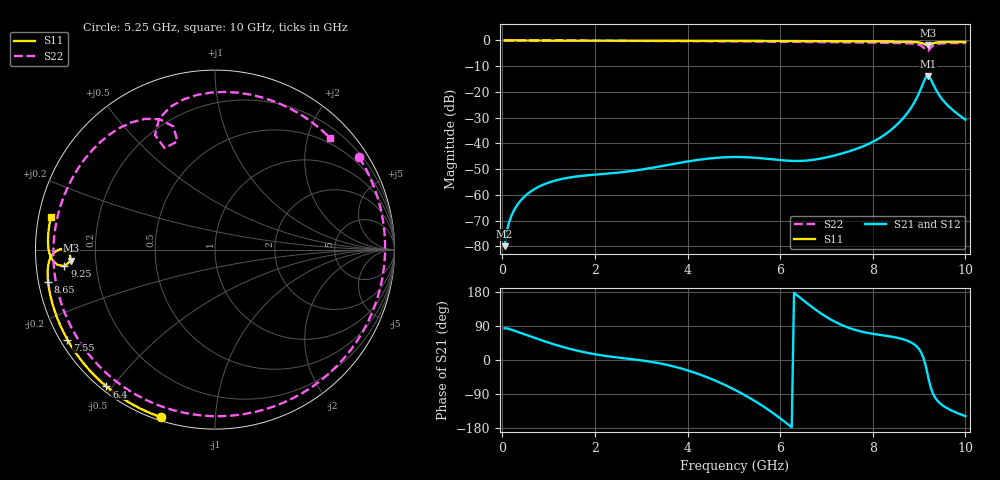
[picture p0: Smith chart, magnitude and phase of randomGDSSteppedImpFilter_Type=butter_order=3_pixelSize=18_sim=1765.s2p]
! freq	dB(S11)	phase(S11)	dB(S12)	phase(S12)
!  dB(S21)	phase(S21)	dB(S22)	phase(S22)
!S-par simulation data
#  GHz  S  DB  R 50
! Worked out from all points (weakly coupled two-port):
!   200 points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, 50 MHz to 10 GHz, reference 50 ohm
!   highest |S21| = -13.75 dB at 9.2 GHz (marker M1); lowest = -79.9 dB at 50 MHz (marker M2)
!   lowest |S11| = -1.9 dB at 9.2 GHz (marker M3), VSWR 9.20, Z = 5.44 - j1.88 ohm
!   |S11| at or under -10 dB: nowhere
!   |S22| runs from -4.0 to 0.0 dB; largest |S21 - S12| = 0
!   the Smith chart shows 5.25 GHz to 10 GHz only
!   S11 on the Smith chart (normalised r, x): 5.25 GHz: 0.01, -0.73; 6.4 GHz: 0.02, -0.48; 7.55 GHz: 0.02, -0.28; 8.65 GHz: 0.03, -0.10; 9.25 GHz: 0.08, -0.05; 10 GHz: 0.04, +0.10
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0.05  -0.00 -1.1  -79.89 83.7  -79.89 83.7  -0.02 -3.7
0.2  -0.01 -4.5  -67.96 79.8  -67.96 79.8  -0.04 -14.3
0.5  -0.02 -11.2  -60.28 66.7  -60.28 66.7  -0.05 -35.4
1.1  -0.03 -24.6  -54.63 41.9  -54.63 41.9  -0.09 -75.5
1.75  -0.05 -38.7  -52.52 21.0  -52.52 21.0  -0.13 -115.1
2.6  -0.07 -56.6  -51.14 5.0  -51.14 5.0  -0.17 -162.4
3.4  -0.10 -72.9  -48.92 -9.0  -48.92 -9.0  -0.21 153.9
4.3  -0.13 -90.3  -46.20 -39.8  -46.20 -39.8  -0.29 99.8
5.05  -0.16 -104.3  -45.27 -80.6  -45.27 -80.6  -0.38 47.6
5.25  -0.17 -107.9  -45.34 -93.8  -45.34 -93.8  -0.41 32.6
5.8  -0.20 -117.8  -46.10 -136.1  -46.10 -136.1  -0.48 -9.5
6.4  -0.24 -128.4  -46.80 167.5  -46.80 167.5  -0.57 -54.8
6.7  -0.26 -133.7  -46.40 138.6  -46.40 138.6  -0.62 -76.5
7.1  -0.29 -140.7  -45.00 106.4  -45.00 106.4  -0.68 -104.4
7.55  -0.33 -148.6  -42.70 82.0  -42.70 82.0  -0.77 -134.6
8.35  -0.42 -163.1  -35.36 62.7  -35.36 62.7  -0.94 171.0
8.65  -0.47 -169.0  -30.30 54.9  -30.30 54.9  -1.05 148.8
9  -0.78 -177.6  -20.43 28.6  -20.43 28.6  -1.66 118.2
9.2  -1.90 -175.6  -13.75 -47.1  -13.75 -47.1  -3.99 116.4
9.25  -1.47 -173.8  -14.98 -71.8  -14.98 -71.8  -2.84 117.7
9.55  -0.63 178.6  -23.93 -123.2  -23.93 -123.2  -1.11 86.5
10  -0.61 168.8  -30.79 -148.2  -30.79 -148.2  -0.98 44.2
